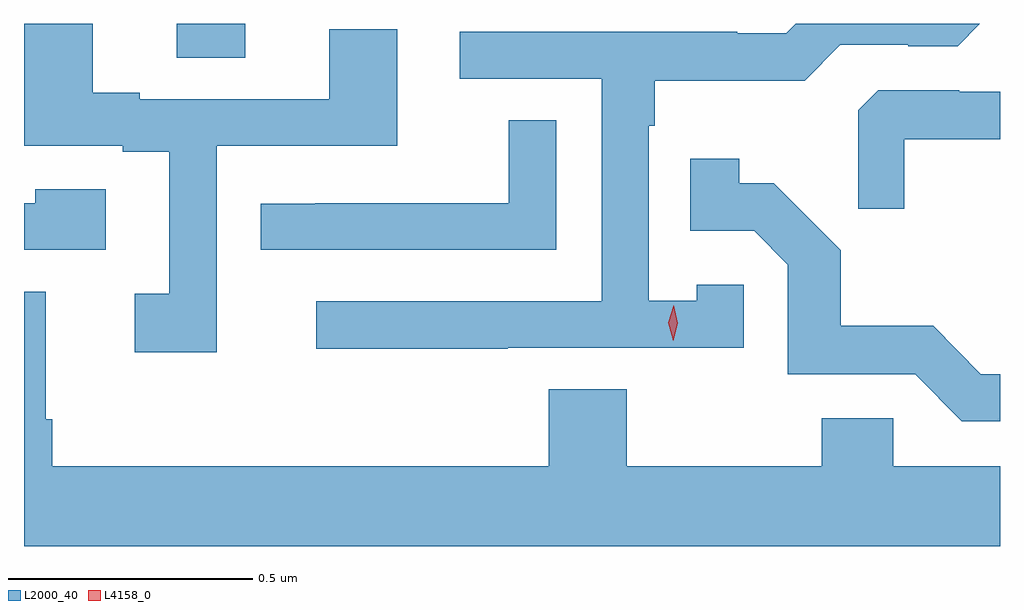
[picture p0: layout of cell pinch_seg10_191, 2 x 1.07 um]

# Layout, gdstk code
import gdstk
lib = gdstk.Library(unit=1e-6, precision=1e-09)
def R(c, l, rs):  # rectangles x0, y0, x1, y1
    for r in rs: c.add(gdstk.rectangle(r[:2], r[2:], *l))
def P(c, l, *ps):  # polygons
    for p in ps: c.add(gdstk.Polygon(p, *l))
L2000_40 = (2000, 40)
L4158_0 = (4158, 0)

pinch_seg10_191 = lib.new_cell('pinch_seg10_191')
R(pinch_seg10_191, L2000_40, [(694.841,1268.017,694.981,1268.086)])
P(pinch_seg10_191, L2000_40, [(694.923,1267.836),(695.293,1267.836),(695.293,1268.075),(695.153,1268.075),(695.153,1267.932),(694.765,1267.932),(694.765,1267.945),(694.669,1267.945),(694.669,1268.086),(694.529,1268.086),(694.529,1267.932),(694.528,1267.932),(694.528,1267.836),(694.73,1267.836),(694.73,1267.824),(694.826,1267.824),(694.826,1267.533),(694.755,1267.533),(694.755,1267.413),(694.923,1267.413)],
  [(695.519,1267.422),(696.003,1267.422),(696.003,1267.551),(695.907,1267.551),(695.907,1267.519),(695.808,1267.519),(695.808,1267.877),(695.821,1267.877),(695.821,1267.97),(696.128,1267.97),(696.201,1268.043),(696.34,1268.043),(696.34,1268.04),(696.441,1268.04),(696.487,1268.086),(696.109,1268.086),(696.09,1268.067),(695.99,1268.067),(695.99,1268.07),(695.421,1268.07),(695.421,1267.974),(695.712,1267.974),(695.712,1267.518),(695.127,1267.518),(695.127,1267.42),(695.519,1267.42)],
  [(696.332,1267.85),(696.528,1267.85),(696.528,1267.947),(696.444,1267.947),(696.444,1267.95),(696.279,1267.95),(696.238,1267.909),(696.238,1267.707),(696.332,1267.707)],
  [(695.619,1267.889),(695.521,1267.889),(695.521,1267.719),(695.125,1267.719),(695.125,1267.718),(695.013,1267.718),(695.013,1267.623),(695.619,1267.623)],
  [(696.528,1267.368),(696.489,1267.368),(696.391,1267.467),(696.202,1267.467),(696.202,1267.622),(696.064,1267.76),(695.994,1267.76),(695.994,1267.81),(695.893,1267.81),(695.893,1267.662),(696.024,1267.662),(696.093,1267.593),(696.093,1267.368),(696.354,1267.368),(696.45,1267.272),(696.528,1267.272)],
  [(694.696,1267.747),(694.551,1267.747),(694.551,1267.719),(694.528,1267.719),(694.528,1267.623),(694.696,1267.623)],
  [(696.528,1267.18),(696.309,1267.18),(696.309,1267.278),(696.163,1267.278),(696.163,1267.18),(695.763,1267.18),(695.763,1267.337),(695.603,1267.337),(695.603,1267.18),(694.586,1267.18),(694.586,1267.276),(694.573,1267.276),(694.573,1267.537),(694.528,1267.537),(694.528,1267.016),(696.528,1267.016)])
P(pinch_seg10_191, L4158_0, [(695.858,1267.437),(695.858,1267.437),(695.848,1267.474),(695.859,1267.509),(695.859,1267.51),(695.859,1267.509),(695.868,1267.473),(695.858,1267.437)])

lib.write_gds('pinch_seg10_191.gds')
